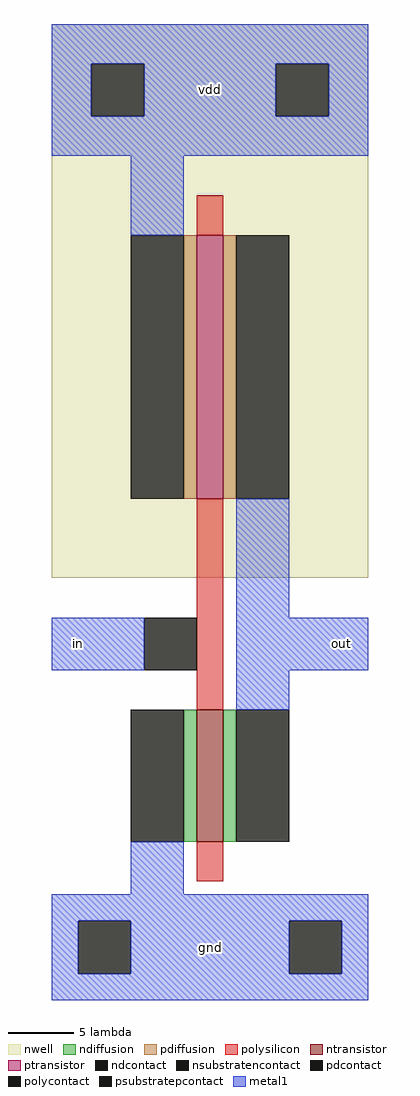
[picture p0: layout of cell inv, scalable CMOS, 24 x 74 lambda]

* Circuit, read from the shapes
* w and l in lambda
.subckt inv gnd in out vdd
M1 out in gnd gnd nfet w=10 l=2
M2 out in vdd vdd pfet w=20 l=2
.ends

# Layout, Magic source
magic
tech scmos
<< nwell >>
rect -2 -16 22 26
<< ntransistor >>
rect 9 -36 11 -26
<< ptransistor >>
rect 9 -10 11 10
<< ndiffusion >>
rect 8 -36 9 -26
rect 11 -36 12 -26
<< pdiffusion >>
rect 8 -10 9 10
rect 11 -10 12 10
<< ndcontact >>
rect 4 -36 8 -26
rect 12 -36 16 -26
<< pdcontact >>
rect 4 -10 8 10
rect 12 -10 16 10
<< psubstratepcontact >>
rect 0 -46 4 -42
rect 16 -46 20 -42
<< nsubstratencontact >>
rect 1 19 5 23
rect 15 19 19 23
<< polysilicon >>
rect 9 10 11 13
rect 9 -26 11 -10
rect 9 -39 11 -36
<< polycontact >>
rect 5 -23 9 -19
<< metal1 >>
rect -2 23 22 26
rect -2 19 1 23
rect 5 19 15 23
rect 19 19 22 23
rect -2 16 22 19
rect 4 10 8 16
rect 12 -19 16 -10
rect -2 -23 5 -19
rect 12 -23 22 -19
rect 12 -26 16 -23
rect 4 -40 8 -36
rect -2 -42 22 -40
rect -2 -46 0 -42
rect 4 -46 16 -42
rect 20 -46 22 -42
rect -2 -48 22 -46
<< labels >>
rlabel metal1 10 -44 10 -44 1 gnd
rlabel metal1 10 21 10 21 5 vdd
rlabel metal1 0 -21 0 -21 3 in
rlabel metal1 20 -21 20 -21 7 out
<< end >>
